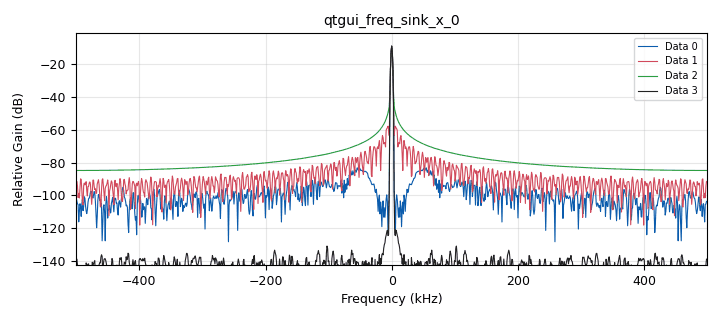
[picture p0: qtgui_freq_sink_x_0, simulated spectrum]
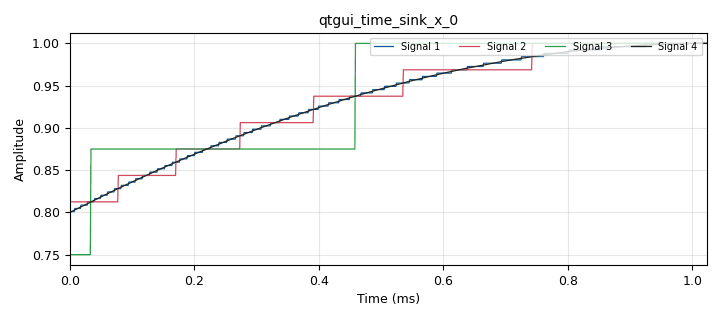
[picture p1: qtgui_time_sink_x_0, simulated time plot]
options:
  parameters:
    generate_options: qt_gui
    id: quantizationLimit_1_7
    output_language: python
    title: Quantization Limit and Impact on SQNR
  states: {}

blocks:
- name: N1
  id: variable
  parameters:
    comment: dB diff = 6.02 (8 bits - 5 bits) = 18 dB
    value: pow(2, 8)
  states: {}
- name: N2
  id: variable
  parameters:
    value: pow(2, 5)
  states: {}
- name: samp_rate
  id: variable
  parameters:
    value: 1e6
  states: {}
- name: analog_noise_source_x_0
  id: analog_noise_source_x
  parameters:
    amp: '5e-6'
    noise_type: analog.GR_GAUSSIAN
    seed: '0'
    type: float
  states: {}
- name: analog_sig_source_x_0
  id: analog_sig_source_x
  parameters:
    amp: '1'
    freq: '100'
    offset: '0'
    phase: '0'
    samp_rate: samp_rate
    type: float
    waveform: analog.GR_COS_WAVE
  states: {}
- name: blocks_add_xx_0
  id: blocks_add_xx
  parameters:
    type: float
  states: {}
- name: blocks_float_to_short_0
  id: blocks_float_to_short
  parameters:
    scale: '1'
  states: {}
- name: blocks_float_to_short_1
  id: blocks_float_to_short
  parameters:
    scale: '1'
  states: {}
- name: blocks_float_to_short_2
  id: blocks_float_to_short
  parameters:
    scale: '1'
  states: {}
- name: blocks_multiply_const_vxx_0
  id: blocks_multiply_const_vxx
  parameters:
    const: N1
    type: float
  states: {}
- name: blocks_multiply_const_vxx_1
  id: blocks_multiply_const_vxx
  parameters:
    const: N2
    type: float
  states: {}
- name: blocks_multiply_const_vxx_2
  id: blocks_multiply_const_vxx
  parameters:
    const: '8'
    type: float
  states: {}
- name: blocks_multiply_const_vxx_3
  id: blocks_multiply_const_vxx
  parameters:
    const: 1/8
    type: float
  states: {}
- name: blocks_multiply_const_vxx_4
  id: blocks_multiply_const_vxx
  parameters:
    const: 1/N2
    type: float
  states: {}
- name: blocks_multiply_const_vxx_5
  id: blocks_multiply_const_vxx
  parameters:
    const: 1/N1
    type: float
  states: {}
- name: blocks_short_to_float_0
  id: blocks_short_to_float
  parameters:
    scale: '1'
  states: {}
- name: blocks_short_to_float_1
  id: blocks_short_to_float
  parameters:
    scale: '1'
  states: {}
- name: blocks_short_to_float_2
  id: blocks_short_to_float
  parameters:
    scale: '1'
  states: {}
- name: blocks_throttle2_0
  id: blocks_throttle2
  parameters:
    samples_per_second: samp_rate
    type: float
  states: {}
- name: qtgui_freq_sink_x_0
  id: qtgui_freq_sink_x
  parameters:
    autoscale: 'True'
    bw: samp_rate
    fc: '0'
    fftsize: '1024'
    nconnections: '4'
    type: float
  states: {}
- name: qtgui_time_sink_x_0
  id: qtgui_time_sink_x
  parameters:
    autoscale: 'True'
    nconnections: '4'
    size: '1024'
    srate: samp_rate
    type: float
  states: {}

connections:
- [analog_noise_source_x_0, '0', blocks_add_xx_0, '0']
- [analog_sig_source_x_0, '0', blocks_add_xx_0, '1']
- [blocks_add_xx_0, '0', blocks_multiply_const_vxx_0, '0']
- [blocks_add_xx_0, '0', blocks_multiply_const_vxx_1, '0']
- [blocks_add_xx_0, '0', blocks_multiply_const_vxx_2, '0']
- [blocks_add_xx_0, '0', qtgui_freq_sink_x_0, '3']
- [blocks_add_xx_0, '0', qtgui_time_sink_x_0, '3']
- [blocks_float_to_short_0, '0', blocks_short_to_float_1, '0']
- [blocks_float_to_short_1, '0', blocks_short_to_float_2, '0']
- [blocks_float_to_short_2, '0', blocks_short_to_float_0, '0']
- [blocks_multiply_const_vxx_0, '0', blocks_float_to_short_0, '0']
- [blocks_multiply_const_vxx_1, '0', blocks_float_to_short_2, '0']
- [blocks_multiply_const_vxx_2, '0', blocks_float_to_short_1, '0']
- [blocks_multiply_const_vxx_3, '0', qtgui_freq_sink_x_0, '2']
- [blocks_multiply_const_vxx_3, '0', qtgui_time_sink_x_0, '2']
- [blocks_multiply_const_vxx_4, '0', qtgui_freq_sink_x_0, '1']
- [blocks_multiply_const_vxx_4, '0', qtgui_time_sink_x_0, '1']
- [blocks_multiply_const_vxx_5, '0', blocks_throttle2_0, '0']
- [blocks_short_to_float_0, '0', blocks_multiply_const_vxx_4, '0']
- [blocks_short_to_float_1, '0', blocks_multiply_const_vxx_5, '0']
- [blocks_short_to_float_2, '0', blocks_multiply_const_vxx_3, '0']
- [blocks_throttle2_0, '0', qtgui_freq_sink_x_0, '0']
- [blocks_throttle2_0, '0', qtgui_time_sink_x_0, '0']

metadata:
  file_format: 1
  grc_version: 3.10.12.0
